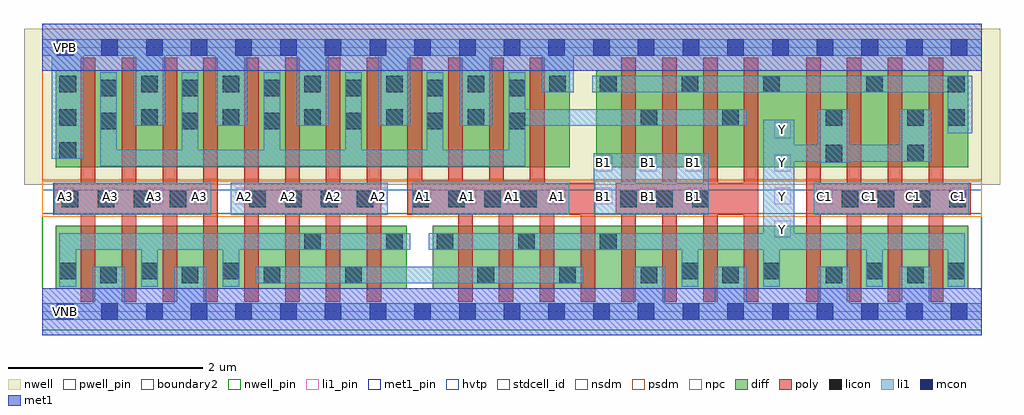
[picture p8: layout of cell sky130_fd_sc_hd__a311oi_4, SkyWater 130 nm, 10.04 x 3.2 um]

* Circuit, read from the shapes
.subckt sky130_fd_sc_hd__a311oi_4 A1 A2 A3 B1 C1 VGND VNB VPB VPWR Y
XM1 VGND A3 n1 VNB sky130_fd_pr__nfet_01v8 w=0.65 l=0.15 m=4
XM2 n2 A2 n1 VNB sky130_fd_pr__nfet_01v8 w=0.65 l=0.15 m=4
XM3 n2 A1 Y VNB sky130_fd_pr__nfet_01v8 w=0.65 l=0.15 m=4
XM4 VGND B1 Y VNB sky130_fd_pr__nfet_01v8 w=0.65 l=0.15 m=4
XM5 VGND C1 Y VNB sky130_fd_pr__nfet_01v8 w=0.65 l=0.15 m=4
XM6 n3 A3 VPWR VPB sky130_fd_pr__pfet_01v8_hvt w=1 l=0.15 m=4
XM7 n3 A2 VPWR VPB sky130_fd_pr__pfet_01v8_hvt w=1 l=0.15 m=4
XM8 n3 A1 VPWR VPB sky130_fd_pr__pfet_01v8_hvt w=1 l=0.15 m=4
XM9 n3 B1 n4 VPB sky130_fd_pr__pfet_01v8_hvt w=1 l=0.15 m=4
XM10 Y C1 n4 VPB sky130_fd_pr__pfet_01v8_hvt w=1 l=0.15 m=4
.ends

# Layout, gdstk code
import gdstk
lib = gdstk.Library(unit=1e-6, precision=1e-09)
def R(c, l, rs):  # rectangles x0, y0, x1, y1
    for r in rs: c.add(gdstk.rectangle(r[:2], r[2:], *l))
def A(c, l, x, y, w, h, nx, ny, dx, dy):  # array of equal rectangles
    R(c, l, [(x+i*dx, y+j*dy, x+i*dx+w, y+j*dy+h) for i in range(nx) for j in range(ny)])
def P(c, l, *ps):  # polygons
    for p in ps: c.add(gdstk.Polygon(p, *l))
nwell_pin = (64, 16)
nwell = (64, 20)
diff = (65, 20)
poly = (66, 20)
licon = (66, 44)
li1_pin = (67, 16)
li1 = (67, 20)
mcon = (67, 44)
met1_pin = (68, 16)
met1 = (68, 20)
hvtp = (78, 44)
stdcell_id = (81, 4)
nsdm = (93, 44)
psdm = (94, 20)
npc = (95, 20)
pwell_pin = (122, 16)
boundary2 = (236, 0)

sky130_fd_sc_hd__a311oi_ = lib.new_cell('sky130_fd_sc_hd__a311oi_4')
R(sky130_fd_sc_hd__a311oi_, nwell_pin, [(0.15,2.635,0.32,2.805)])
R(sky130_fd_sc_hd__a311oi_, nwell, [(-0.19,1.305,9.85,2.91)])
R(sky130_fd_sc_hd__a311oi_, diff, [(0.135,0.235,3.745,0.885), (4.015,0.235,9.525,0.885), (0.135,1.485,5.425,2.485), (5.695,1.485,9.525,2.485)])
P(sky130_fd_sc_hd__a311oi_, poly, [(2.075,0.105),(2.075,2.615),(2.225,2.615),(2.225,1.325),(2.495,1.325),(2.495,2.615),(2.645,2.615),(2.645,1.325),(2.915,1.325),(2.915,2.615),(3.065,2.615),(3.065,1.325),(3.335,1.325),(3.335,2.615),(3.485,2.615),(3.485,0.105),(3.335,0.105),(3.335,0.995),(3.065,0.995),(3.065,0.105),(2.915,0.105),(2.915,0.995),(2.645,0.995),(2.645,0.105),(2.495,0.105),(2.495,0.995),(2.225,0.995),(2.225,0.105)],
  [(4.275,0.105),(4.275,0.995),(3.755,0.995),(3.755,2.615),(3.905,2.615),(3.905,1.345),(4.175,1.345),(4.175,2.615),(4.325,2.615),(4.325,1.345),(4.595,1.345),(4.595,2.615),(4.745,2.615),(4.745,1.345),(5.015,1.345),(5.015,2.615),(5.165,2.615),(5.165,1.325),(5.685,1.325),(5.685,0.105),(5.535,0.105),(5.535,0.995),(5.265,0.995),(5.265,0.105),(5.115,0.105),(5.115,0.995),(4.845,0.995),(4.845,0.105),(4.695,0.105),(4.695,0.995),(4.425,0.995),(4.425,0.105)],
  [(5.955,0.105),(5.955,0.995),(5.895,0.995),(5.895,1.325),(5.955,1.325),(5.955,2.615),(6.105,2.615),(6.105,1.325),(6.375,1.325),(6.375,2.615),(6.525,2.615),(6.525,1.325),(6.795,1.325),(6.795,2.615),(6.945,2.615),(6.945,1.325),(7.215,1.325),(7.215,2.615),(7.365,2.615),(7.365,0.105),(7.215,0.105),(7.215,0.995),(6.945,0.995),(6.945,0.105),(6.795,0.105),(6.795,0.995),(6.525,0.995),(6.525,0.105),(6.375,0.105),(6.375,0.995),(6.105,0.995),(6.105,0.105)],
  [(7.855,0.105),(7.855,2.615),(8.005,2.615),(8.005,1.325),(8.275,1.325),(8.275,2.615),(8.425,2.615),(8.425,1.325),(8.695,1.325),(8.695,2.615),(8.845,2.615),(8.845,1.325),(9.115,1.325),(9.115,2.615),(9.265,2.615),(9.265,1.325),(9.55,1.325),(9.55,0.995),(9.265,0.995),(9.265,0.105),(9.115,0.105),(9.115,0.995),(8.845,0.995),(8.845,0.105),(8.695,0.105),(8.695,0.995),(8.425,0.995),(8.425,0.105),(8.275,0.105),(8.275,0.995),(8.005,0.995),(8.005,0.105)],
  [(0.395,0.105),(0.395,0.995),(0.11,0.995),(0.11,1.325),(0.395,1.325),(0.395,2.615),(0.545,2.615),(0.545,1.325),(0.815,1.325),(0.815,2.615),(0.965,2.615),(0.965,1.325),(1.235,1.325),(1.235,2.615),(1.385,2.615),(1.385,1.325),(1.655,1.325),(1.655,2.615),(1.805,2.615),(1.805,0.105),(1.655,0.105),(1.655,0.995),(1.385,0.995),(1.385,0.105),(1.235,0.105),(1.235,0.995),(0.965,0.995),(0.965,0.105),(0.815,0.105),(0.815,0.995),(0.545,0.995),(0.545,0.105)])
A(sky130_fd_sc_hd__a311oi_, licon, 0.595, 0.295, 0.17, 0.17, 4, 1, 0.84, 0)
A(sky130_fd_sc_hd__a311oi_, licon, 4.475, 0.295, 0.17, 0.17, 4, 1, 0.84, 0)
A(sky130_fd_sc_hd__a311oi_, licon, 0.175, 0.335, 0.17, 0.17, 3, 1, 0.84, 0)
A(sky130_fd_sc_hd__a311oi_, licon, 4.055, 0.635, 0.17, 0.17, 3, 1, 0.84, 0)
A(sky130_fd_sc_hd__a311oi_, licon, 0.2, 1.075, 0.17, 0.17, 4, 1, 0.37, 0)
A(sky130_fd_sc_hd__a311oi_, licon, 2.125, 1.075, 0.17, 0.17, 4, 1, 0.37, 0)
A(sky130_fd_sc_hd__a311oi_, licon, 3.805, 1.075, 0.17, 0.17, 4, 1, 0.37, 0)
A(sky130_fd_sc_hd__a311oi_, licon, 5.945, 1.075, 0.17, 0.17, 3, 1, 0.37, 0)
A(sky130_fd_sc_hd__a311oi_, licon, 8.22, 1.075, 0.17, 0.17, 4, 1, 0.37, 0)
A(sky130_fd_sc_hd__a311oi_, licon, 0.595, 1.875, 0.17, 0.17, 6, 2, 0.84, 0.34)
A(sky130_fd_sc_hd__a311oi_, licon, 0.175, 1.915, 0.17, 0.17, 6, 1, 0.84, 0)
A(sky130_fd_sc_hd__a311oi_, licon, 0.175, 2.255, 0.17, 0.17, 7, 1, 0.84, 0)
A(sky130_fd_sc_hd__a311oi_, licon, 5.735, 2.255, 0.17, 0.17, 3, 1, 0.84, 0)
R(sky130_fd_sc_hd__a311oi_, licon, [(8.055,0.295,8.225,0.465), (8.895,0.295,9.065,0.465), (6.575,0.335,6.745,0.505), (7.415,0.335,7.585,0.505), (8.475,0.335,8.645,0.505), (9.315,0.335,9.485,0.505), (2.695,0.635,2.865,0.805), (3.535,0.635,3.705,0.805), (8.055,1.545,8.225,1.715), (8.895,1.545,9.065,1.715), (0.175,1.575,0.345,1.745), (6.155,1.915,6.325,2.085), (6.995,1.915,7.165,2.085), (8.055,1.915,8.225,2.085), (8.895,1.915,9.065,2.085), (9.315,1.915,9.485,2.085), (8.475,2.255,8.645,2.425), (9.315,2.255,9.485,2.425)])
A(sky130_fd_sc_hd__a311oi_, li1_pin, 7.53, 0.765, 0.17, 0.17, 1, 4, 0, 0.34)
A(sky130_fd_sc_hd__a311oi_, li1_pin, 0.15, 1.105, 0.17, 0.17, 12, 1, 0.46, 0)
A(sky130_fd_sc_hd__a311oi_, li1_pin, 5.69, 1.105, 0.17, 0.17, 3, 2, 0.46, 0.34)
A(sky130_fd_sc_hd__a311oi_, li1_pin, 7.96, 1.105, 0.17, 0.17, 4, 1, 0.46, 0)
R(sky130_fd_sc_hd__a311oi_, li1, [(2.195,0.295,5.565,0.465), (0.12,0.995,1.735,1.325), (1.935,0.995,3.55,1.325), (3.805,0.995,5.42,1.325), (5.67,0.995,6.855,1.63), (7.935,0.995,9.53,1.325)])
P(sky130_fd_sc_hd__a311oi_, li1, [(6.575,0.255),(6.575,0.635),(3.975,0.635),(3.975,0.805),(7.415,0.805),(7.415,1.975),(7.735,1.975),(7.735,1.715),(7.975,1.715),(7.975,2.085),(8.305,2.085),(8.305,1.715),(8.815,1.715),(8.815,2.085),(9.145,2.085),(9.145,1.545),(8.305,1.545),(8.305,1.53),(7.975,1.53),(7.975,1.545),(7.735,1.545),(7.735,0.805),(9.485,0.805),(9.485,0.255),(9.315,0.255),(9.315,0.635),(8.645,0.635),(8.645,0.255),(8.475,0.255),(8.475,0.635),(7.585,0.635),(7.585,0.255),(7.415,0.255),(7.415,0.635),(6.745,0.635),(6.745,0.255)],
  [(9.315,1.835),(9.315,2.255),(5.655,2.255),(5.655,2.425),(9.565,2.425),(9.565,1.835)],
  [(0.175,0.255),(0.175,0.805),(3.785,0.805),(3.785,0.635),(2.025,0.635),(2.025,0.255),(1.855,0.255),(1.855,0.635),(1.185,0.635),(1.185,0.255),(1.015,0.255),(1.015,0.635),(0.345,0.635),(0.345,0.255)],
  [(0.595,1.495),(0.595,2.465),(0.765,2.465),(0.765,1.665),(1.435,1.665),(1.435,2.465),(1.605,2.465),(1.605,1.665),(2.275,1.665),(2.275,2.465),(2.445,2.465),(2.445,1.665),(3.115,1.665),(3.115,2.465),(3.285,2.465),(3.285,1.665),(3.955,1.665),(3.955,2.465),(4.125,2.465),(4.125,1.665),(4.795,1.665),(4.795,2.465),(4.965,2.465),(4.965,2.085),(7.245,2.085),(7.245,1.915),(4.965,1.915),(4.965,1.495)],
  [(0,-0.085),(0,0.085),(0.515,0.085),(0.515,0.465),(0.845,0.465),(0.845,0.085),(1.355,0.085),(1.355,0.465),(1.685,0.465),(1.685,0.085),(6.075,0.085),(6.075,0.465),(6.405,0.465),(6.405,0.085),(6.915,0.085),(6.915,0.465),(7.245,0.465),(7.245,0.085),(7.975,0.085),(7.975,0.465),(8.305,0.465),(8.305,0.085),(8.815,0.085),(8.815,0.465),(9.145,0.465),(9.145,0.085),(9.66,0.085),(9.66,-0.085)],
  [(0.095,1.575),(0.095,2.635),(0,2.635),(0,2.805),(9.66,2.805),(9.66,2.635),(5.465,2.635),(5.465,2.255),(5.135,2.255),(5.135,2.635),(4.625,2.635),(4.625,1.915),(4.295,1.915),(4.295,2.635),(3.785,2.635),(3.785,1.915),(3.455,1.915),(3.455,2.635),(2.945,2.635),(2.945,1.915),(2.615,1.915),(2.615,2.635),(2.105,2.635),(2.105,1.915),(1.775,1.915),(1.775,2.635),(1.265,2.635),(1.265,1.915),(0.935,1.915),(0.935,2.635),(0.425,2.635),(0.425,1.575)])
A(sky130_fd_sc_hd__a311oi_, mcon, 0.145, -0.085, 0.17, 0.17, 21, 2, 0.46, 2.72)
R(sky130_fd_sc_hd__a311oi_, met1_pin, [(0.15,-0.085,0.32,0.085), (0.15,2.635,0.32,2.805)])
R(sky130_fd_sc_hd__a311oi_, hvtp, [(0,1.25,9.66,2.72)])
R(sky130_fd_sc_hd__a311oi_, stdcell_id, [(0,0,9.66,2.72)])
R(sky130_fd_sc_hd__a311oi_, nsdm, [(0,-0.19,9.66,1.015)])
R(sky130_fd_sc_hd__a311oi_, psdm, [(0,1.355,9.66,2.91)])
R(sky130_fd_sc_hd__a311oi_, npc, [(0,0.975,9.66,1.345)])
R(sky130_fd_sc_hd__a311oi_, pwell_pin, [(0.15,-0.085,0.32,0.085)])
R(sky130_fd_sc_hd__a311oi_, boundary2, [(0,0,9.66,2.72)])
sky130_fd_sc_hd__a311oi_.add(gdstk.FlexPath([(0,2.72),(9.66,2.72)], 0.48, ends="flush", simple_path=True, layer=68, datatype=20))  # met1
sky130_fd_sc_hd__a311oi_.add(gdstk.FlexPath([(0,0),(9.66,0)], 0.48, ends="flush", simple_path=True, layer=68, datatype=20))  # met1
sky130_fd_sc_hd__a311oi_.add(gdstk.Label('Y', (7.615,0.85), layer=67, texttype=5))
sky130_fd_sc_hd__a311oi_.add(gdstk.Label('B1', (5.775,1.53), layer=67, texttype=5))
sky130_fd_sc_hd__a311oi_.add(gdstk.Label('A1', (3.915,1.19), layer=67, texttype=5))
sky130_fd_sc_hd__a311oi_.add(gdstk.Label('A3', (1.615,1.19), layer=67, texttype=5))
sky130_fd_sc_hd__a311oi_.add(gdstk.Label('Y', (7.615,1.19), layer=67, texttype=5))
sky130_fd_sc_hd__a311oi_.add(gdstk.Label('Y', (7.615,1.87), layer=67, texttype=5))
sky130_fd_sc_hd__a311oi_.add(gdstk.Label('Y', (7.615,1.53), layer=67, texttype=5))
sky130_fd_sc_hd__a311oi_.add(gdstk.Label('C1', (8.045,1.19), layer=67, texttype=5))
sky130_fd_sc_hd__a311oi_.add(gdstk.Label('C1', (8.505,1.19), layer=67, texttype=5))
sky130_fd_sc_hd__a311oi_.add(gdstk.Label('C1', (8.965,1.19), layer=67, texttype=5))
sky130_fd_sc_hd__a311oi_.add(gdstk.Label('C1', (9.425,1.19), layer=67, texttype=5))
sky130_fd_sc_hd__a311oi_.add(gdstk.Label('B1', (5.775,1.19), layer=67, texttype=5))
sky130_fd_sc_hd__a311oi_.add(gdstk.Label('B1', (6.695,1.53), layer=67, texttype=5))
sky130_fd_sc_hd__a311oi_.add(gdstk.Label('B1', (6.235,1.53), layer=67, texttype=5))
sky130_fd_sc_hd__a311oi_.add(gdstk.Label('B1', (6.695,1.19), layer=67, texttype=5))
sky130_fd_sc_hd__a311oi_.add(gdstk.Label('B1', (6.235,1.19), layer=67, texttype=5))
sky130_fd_sc_hd__a311oi_.add(gdstk.Label('A2', (2.995,1.19), layer=67, texttype=5))
sky130_fd_sc_hd__a311oi_.add(gdstk.Label('A2', (2.535,1.19), layer=67, texttype=5))
sky130_fd_sc_hd__a311oi_.add(gdstk.Label('A2', (2.075,1.19), layer=67, texttype=5))
sky130_fd_sc_hd__a311oi_.add(gdstk.Label('A1', (5.295,1.19), layer=67, texttype=5))
sky130_fd_sc_hd__a311oi_.add(gdstk.Label('A3', (1.155,1.19), layer=67, texttype=5))
sky130_fd_sc_hd__a311oi_.add(gdstk.Label('A3', (0.695,1.19), layer=67, texttype=5))
sky130_fd_sc_hd__a311oi_.add(gdstk.Label('A3', (0.235,1.19), layer=67, texttype=5))
sky130_fd_sc_hd__a311oi_.add(gdstk.Label('A2', (3.455,1.19), layer=67, texttype=5))
sky130_fd_sc_hd__a311oi_.add(gdstk.Label('A1', (4.835,1.19), layer=67, texttype=5))
sky130_fd_sc_hd__a311oi_.add(gdstk.Label('A1', (4.375,1.19), layer=67, texttype=5))
sky130_fd_sc_hd__a311oi_.add(gdstk.Label('VNB', (0.235,0), layer=64, texttype=59))
sky130_fd_sc_hd__a311oi_.add(gdstk.Label('VPB', (0.235,2.72), layer=64, texttype=5))
sky130_fd_sc_hd__a311oi_.add(gdstk.Label('VPWR', (0.235,2.72), layer=68, texttype=5))
sky130_fd_sc_hd__a311oi_.add(gdstk.Label('VGND', (0.235,0), layer=68, texttype=5))
sky130_fd_sc_hd__a311oi_.add(gdstk.Label('a311oi_4', (0,0), layer=83, texttype=44))

lib.write_gds('sky130_fd_sc_hd__a311oi_4.gds')
